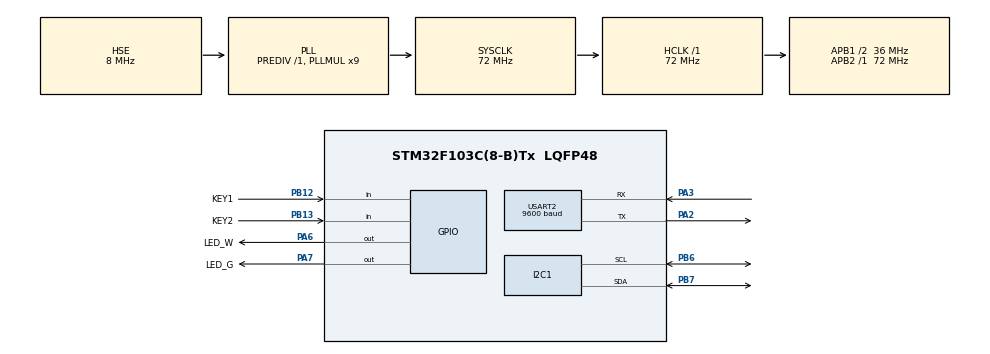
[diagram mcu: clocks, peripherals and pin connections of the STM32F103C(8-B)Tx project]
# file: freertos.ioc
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I2C1.I2C_Mode=I2C_Fast
Mcu.Family=STM32F1
Mcu.Name=STM32F103C(8-B)Tx
Mcu.Package=LQFP48
NVIC.PriorityGroup=NVIC_PRIORITYGROUP_4
NVIC.TIM2_IRQn=true\:15\:0\:false\:false\:true\:false\:true\:true
NVIC.TimeBase=TIM2_IRQn
NVIC.TimeBaseIP=TIM2
NVIC.USART2_IRQn=true\:0\:0\:false\:false\:true\:true\:true\:true
PA13.Mode=Serial_Wire
PA13.Signal=SYS_JTMS-SWDIO
PA14.Mode=Serial_Wire
PA14.Signal=SYS_JTCK-SWCLK
PA2.Mode=Asynchronous
PA2.Signal=USART2_TX
PA3.Mode=Asynchronous
PA3.Signal=USART2_RX
PA6.GPIO_Label=LED_W
PA6.Signal=GPIO_Output
PA7.GPIO_Label=LED_G
PA7.Signal=GPIO_Output
PB12.GPIO_Label=KEY1
PB12.Signal=GPIO_Input
PB13.GPIO_Label=KEY2
PB13.GPIO_PuPd=GPIO_PULLUP
PB13.Signal=GPIO_Input
PB6.Mode=I2C
PB6.Signal=I2C1_SCL
PB7.Mode=I2C
PB7.Signal=I2C1_SDA
PD0-OSC_IN.Mode=HSE-External-Oscillator
PD0-OSC_IN.Signal=RCC_OSC_IN
PD1-OSC_OUT.Mode=HSE-External-Oscillator
PD1-OSC_OUT.Signal=RCC_OSC_OUT
ProjectManager.HeapSize=0x200
ProjectManager.StackSize=0x400
ProjectManager.TargetToolchain=MDK-ARM V5.27
RCC.AHBFreq_Value=72000000
RCC.APB1CLKDivider=RCC_HCLK_DIV2
RCC.APB1Freq_Value=36000000
RCC.APB1TimFreq_Value=72000000
RCC.APB2Freq_Value=72000000
RCC.APB2TimFreq_Value=72000000
RCC.HCLKFreq_Value=72000000
RCC.PLLMUL=RCC_PLL_MUL9
RCC.PLLSourceVirtual=RCC_PLLSOURCE_HSE
RCC.SYSCLKFreq_VALUE=72000000
RCC.SYSCLKSource=RCC_SYSCLKSOURCE_PLLCLK
RCC.USBFreq_Value=72000000
USART2.BaudRate=9600
USART2.VirtualMode=VM_ASYNC
VP_SYS_VS_tim2.Mode=TIM2
board=custom

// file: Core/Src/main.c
/* USER CODE BEGIN Header */
/**
  ******************************************************************************
  * @file           : main.c
  * @brief          : Main program body
  ******************************************************************************
  * @attention
  *
  * Copyright (c) 2024 STMicroelectronics.
  * All rights reserved.
  *
  * This software is licensed under terms that can be found in the LICENSE file
  * in the root directory of this software component.
  * If no LICENSE file comes with this software, it is provided AS-IS.
  *
  ******************************************************************************
  */
/* USER CODE END Header */
#include "main.h"
#include "i2c.h"
#include "usart.h"
#include "gpio.h"

/* USER CODE BEGIN Includes */
#include <stdio.h>
#include <string.h>
#include "FreeRTOSConfig.h"
#include "FreeRTOS.h"
#include "task.h"
#include "oled.h"

/* USER CODE END Includes */

void SystemClock_Config(void);

/* USER CODE BEGIN 0 */

int fputc(int ch, FILE *f)
{
	HAL_UART_Transmit(&huart2, (uint8_t *)&ch, 1, 0xffff);
	return ch;
}

TaskHandle_t Star_TaskHandle_t, Wled_TaskHandle_t, Gled_TaskHandle_t, Key1_TaskHandle_t, Print_TaskHandle_t;
void Wled_task(void* arg)
{
	while(1)
	{
		HAL_GPIO_TogglePin(LED_W_GPIO_Port, LED_W_Pin);
		vTaskDelay(500);
		printf("Wled_task\r\n");
	}
}

void Gled_task(void* arg)
{
	while(1)
	{
		HAL_GPIO_TogglePin(LED_G_GPIO_Port, LED_G_Pin);
		vTaskDelay(300);
		printf("Gled_task\r\n");
	}
}

void print_task(void* arg)
{
    while(1)
    {
        HAL_UART_Transmit(&huart2, (uint8_t *)"HelloWorld\r\n", 12, 100);
        vTaskDelay(1000);
    }
}

void key1_task(void* arg)
{
	uint8_t end_flag = 0;
	while(1)
	{
		if(HAL_GPIO_ReadPin(KEY1_GPIO_Port,KEY1_Pin) == GPIO_PIN_RESET)
		{
			vTaskDelay(10);
			if(HAL_GPIO_ReadPin(KEY1_GPIO_Port,KEY1_Pin) == GPIO_PIN_RESET)
				end_flag = 1;
		}

		if(end_flag == 1)
		{
			vTaskDelete(Wled_TaskHandle_t);
			printf("key1_task end\r\n");
			break;
		}

		printf("key1_task\r\n");
		vTaskDelay(100);
	}
	vTaskDelete(NULL);
}

void start_task(void* arg)
{
	// 创建任务led1灯任务
	if(xTaskCreate(Wled_task, "Wled_task", 32, NULL, 3, &Wled_TaskHandle_t) == 1)
		printf("creat Wled_task sussces\r\n");
	else
		printf("creat Wled_task false\r\n");

	// 创建任务led2灯任务
	if(xTaskCreate(Gled_task, "Gled_task", 32, NULL, 4, &Gled_TaskHandle_t) == 1)
		printf("creat Gled_task sussces\r\n");
	else
		printf("creat Gled_task false\r\n");

	// 创建按键检测任务
	if(xTaskCreate(key1_task, "key1_task", 32, NULL, 5, &Key1_TaskHandle_t) == 1)
		printf("creat key1_task sussces\r\n");
	else
		printf("creat key1_task false\r\n");

	printf("here\r\n");
	vTaskDelete(NULL);

}

/* USER CODE END 0 */

int main(void)
{

  /* MCU Configuration--------------------------------------------------------*/

  /* Reset of all peripherals, Initializes the Flash interface and the Systick. */
  HAL_Init();

  /* Configure the system clock */
  SystemClock_Config();

  /* Initialize all configured peripherals */
  MX_GPIO_Init();
  MX_USART2_UART_Init();
  MX_I2C1_Init();
  /* USER CODE BEGIN 2 */

		// xTaskCreate函数参数说明：
		// 1、任务入口函数
		// 2、任务名称
		// 3、堆栈大小，单位
		// 4、传递给任务的参数
		// 5、任务优先级
		// 6、任务句柄

//		// 创建任务led1灯任务
//    xTaskCreate(Wled_task, "led1_task", 64, NULL, 3, &Wled_TaskHandle_t);
//		// 创建任务led2灯任务
//		xTaskCreate(Gled_task, "led2_task", 64, NULL, 4, &Gled_TaskHandle_t);
//		// 创建串口打印任务
//    xTaskCreate(print_task, "print_task", 128, NULL, 5, &Print_TaskHandle_t);
//    // 启动任务调度
//    vTaskStartScheduler();

	if( xTaskCreate(start_task,"start_task",64,NULL,2, &Star_TaskHandle_t) == 1)
		printf("creat start_task sussces\r\n");
	else
		printf("creat start_task false\r\n");

	// 启动任务调度
	vTaskStartScheduler();

//  // 刚上电时STM32比OLED启动快，因此需要等待一段时间再初始化OLED
//  HAL_Delay(20);
//  // 初始化OLED
//  OLED_Init();
//  // 设置OLED显示模式：正常/反色
//  OLED_SetColorMode(OLED_COLOR_NORMAL);
//  // 设置OLED显示方向：0°/180°
//  OLED_SetOrientation(OLED_Orientation_0);
//  // 清空显示缓冲区
//  OLED_ClearBuffer();
//  // 将缓存内容更新到屏幕显示
//  OLED_Refresh();

  /* USER CODE END 2 */

  /* Infinite loop */
  /* USER CODE BEGIN WHILE */
  while (1)
  {
//		printf("Z测试\n");
//		HAL_Delay(1000);

//    oled_string(10,10,"ni ssss kai de");

    /* USER CODE END WHILE */

  }
}

void SystemClock_Config(void)
{
  RCC_OscInitTypeDef RCC_OscInitStruct = {0};
  RCC_ClkInitTypeDef RCC_ClkInitStruct = {0};

  /** Initializes the RCC Oscillators according to the specified parameters
  * in the RCC_OscInitTypeDef structure.
  */
  RCC_OscInitStruct.OscillatorType = RCC_OSCILLATORTYPE_HSE;
  RCC_OscInitStruct.HSEState = RCC_HSE_ON;
  RCC_OscInitStruct.HSEPredivValue = RCC_HSE_PREDIV_DIV1;
  RCC_OscInitStruct.HSIState = RCC_HSI_ON;
  RCC_OscInitStruct.PLL.PLLState = RCC_PLL_ON;
  RCC_OscInitStruct.PLL.PLLSource = RCC_PLLSOURCE_HSE;
  RCC_OscInitStruct.PLL.PLLMUL = RCC_PLL_MUL9;
  if (HAL_RCC_OscConfig(&RCC_OscInitStruct) != HAL_OK)
  {
    Error_Handler();
  }

  /** Initializes the CPU, AHB and APB buses clocks
  */
  RCC_ClkInitStruct.ClockType = RCC_CLOCKTYPE_HCLK|RCC_CLOCKTYPE_SYSCLK
                              |RCC_CLOCKTYPE_PCLK1|RCC_CLOCKTYPE_PCLK2;
  RCC_ClkInitStruct.SYSCLKSource = RCC_SYSCLKSOURCE_PLLCLK;
  RCC_ClkInitStruct.AHBCLKDivider = RCC_SYSCLK_DIV1;
  RCC_ClkInitStruct.APB1CLKDivider = RCC_HCLK_DIV2;
  RCC_ClkInitStruct.APB2CLKDivider = RCC_HCLK_DIV1;

  if (HAL_RCC_ClockConfig(&RCC_ClkInitStruct, FLASH_LATENCY_2) != HAL_OK)
  {
    Error_Handler();
  }
}

void HAL_TIM_PeriodElapsedCallback(TIM_HandleTypeDef *htim)
{
  if (htim->Instance == TIM2) {
    HAL_IncTick();
  }
}

void Error_Handler(void)
{
  __disable_irq();
  while (1)
  {
  }
}
